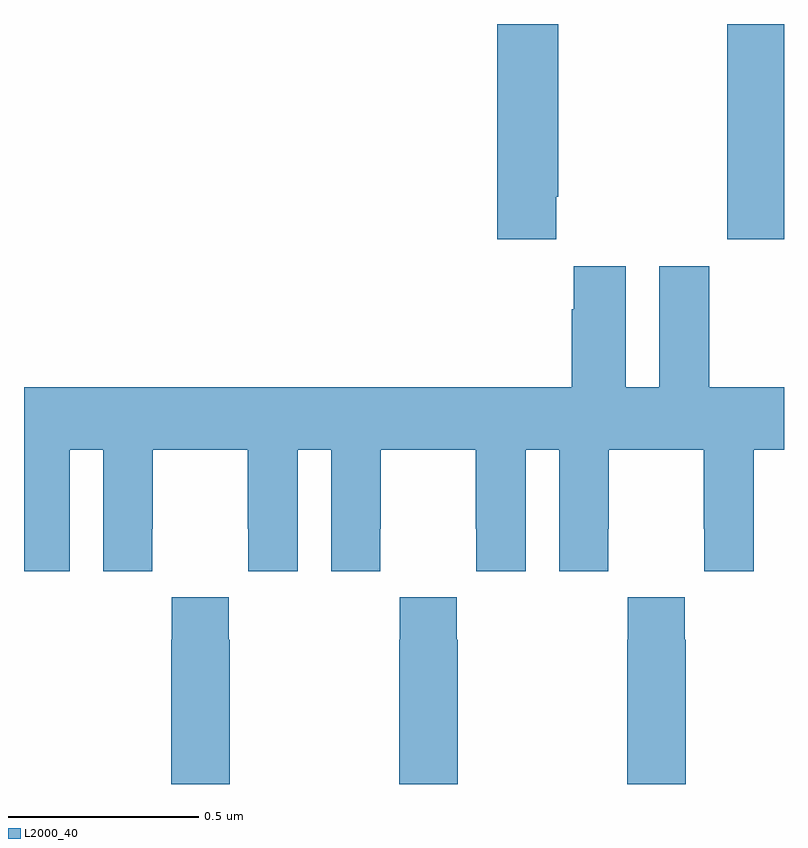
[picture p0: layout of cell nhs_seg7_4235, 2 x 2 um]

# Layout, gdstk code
import gdstk
lib = gdstk.Library(unit=1e-6, precision=1e-09)
def R(c, l, rs):  # rectangles x0, y0, x1, y1
    for r in rs: c.add(gdstk.rectangle(r[:2], r[2:], *l))
def P(c, l, *ps):  # polygons
    for p in ps: c.add(gdstk.Polygon(p, *l))
L2000_40 = (2000, 40)

nhs_seg7_4235 = lib.new_cell('nhs_seg7_4235')
R(nhs_seg7_4235, L2000_40, [(170.851,1070.433,171,1071)])
P(nhs_seg7_4235, L2000_40, [(170.401,1070.545),(170.406,1070.545),(170.406,1071),(170.246,1071),(170.246,1070.433),(170.401,1070.433)],
  [(169,1069.56),(169.12,1069.56),(169.12,1069.88),(169.208,1069.88),(169.208,1069.56),(169.338,1069.56),(169.338,1069.672),(169.339,1069.672),(169.339,1069.88),(169.589,1069.88),(169.589,1069.672),(169.59,1069.672),(169.59,1069.56),(169.72,1069.56),(169.72,1069.88),(169.808,1069.88),(169.808,1069.56),(169.938,1069.56),(169.938,1069.672),(169.939,1069.672),(169.939,1069.88),(170.189,1069.88),(170.189,1069.672),(170.19,1069.672),(170.19,1069.56),(170.32,1069.56),(170.32,1069.88),(170.408,1069.88),(170.408,1069.56),(170.538,1069.56),(170.538,1069.672),(170.539,1069.672),(170.539,1069.88),(170.789,1069.88),(170.789,1069.672),(170.79,1069.672),(170.79,1069.56),(170.92,1069.56),(170.92,1069.88),(171,1069.88),(171,1070.044),(170.803,1070.044),(170.803,1070.362),(170.672,1070.362),(170.672,1070.044),(170.584,1070.044),(170.584,1070.362),(170.447,1070.362),(170.447,1070.249),(170.441,1070.249),(170.441,1070.044),(169,1070.044)],
  [(170.142,1069.379),(170.139,1069.379),(170.139,1069.492),(169.989,1069.492),(169.989,1069.379),(169.987,1069.379),(169.987,1069),(170.142,1069)],
  [(169.542,1069.379),(169.539,1069.379),(169.539,1069.492),(169.389,1069.492),(169.389,1069.379),(169.387,1069.379),(169.387,1069),(169.542,1069)],
  [(170.589,1069.492),(170.589,1069.379),(170.587,1069.379),(170.587,1069),(170.742,1069),(170.742,1069.379),(170.739,1069.379),(170.739,1069.492)])

lib.write_gds('nhs_seg7_4235.gds')
